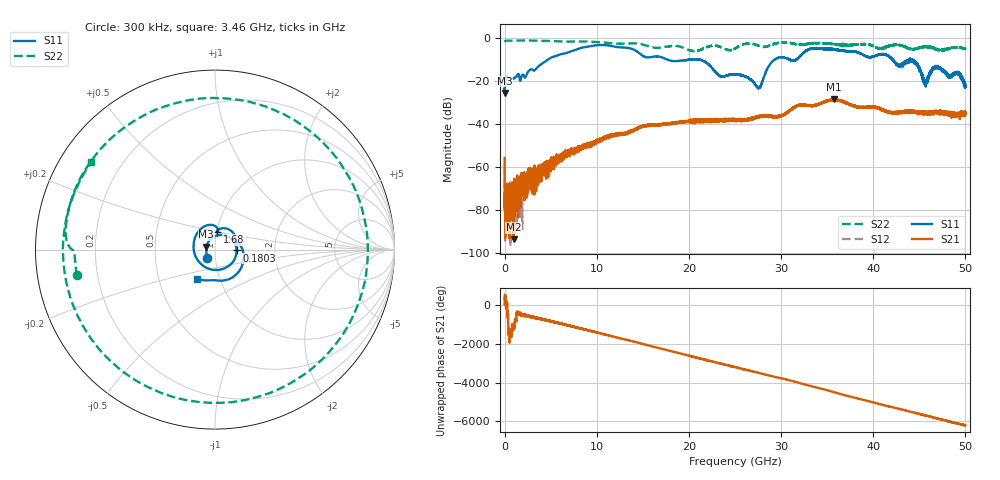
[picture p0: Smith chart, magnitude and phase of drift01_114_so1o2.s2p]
!Created with skrf (http://scikit-rf.org).
# Hz S RI R 50.0
!freq ReS11 ImS11 ReS21 ImS21 ReS12 ImS12 ReS22 ImS22
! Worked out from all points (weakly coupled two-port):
!   10001 points, 300 kHz to 50 GHz, reference 50 ohm
!   highest |S21| = -28.74 dB at 35.74 GHz (marker M1); lowest = -93.9 dB at 985.3 MHz (marker M2)
!   lowest |S11| = -25.8 dB at 5.3 MHz (marker M3), VSWR 1.11, Z = 45.3 + j1.4 ohm
!   |S11| at or under -10 dB: start of sweep to 4.767 GHz; 17.52 GHz to 29.37 GHz (11.85 GHz wide, 50.5 % of centre); 44.19 GHz to end of sweep (the widest 3 of 13)
!   |S22| runs from -6.3 to -1.4 dB; largest |S21 - S12| = 0.0047
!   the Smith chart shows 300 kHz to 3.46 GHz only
!   S11 on the Smith chart (normalised r, x): 300 kHz: 0.91, -0.08; 180.3 MHz: 1.27, -0.01; 1.68 GHz: 1.01, +0.20; 3.46 GHz: 0.78, -0.26
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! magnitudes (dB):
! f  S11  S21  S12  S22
! 300 kHz  -23.8  -56.0  -59.9  -2.1
! 5.3 MHz  -25.8  -79.0  -68.1  -2.1
! 180.3 MHz  -18.4  -81.6  -83.8  -1.4
! 985.3 MHz  -18.9  -93.9  -77.1  -1.5
! 1.68 GHz  -20.1  -72.7  -68.2  -1.4
! 3.46 GHz  -14.3  -64.9  -63.9  -1.5
! 8.335 GHz  -4.8  -51.3  -51.8  -1.8
! 16.67 GHz  -8.8  -40.6  -40.7  -4.8
! 21.22 GHz  -10.3  -38.6  -38.3  -5.7
! 23.41 GHz  -17.9  -38.6  -38.6  -4.3
! 25 GHz  -17.1  -38.2  -38.2  -5.0
! 27.59 GHz  -23.6  -36.7  -36.8  -3.8
! 29.28 GHz  -10.3  -37.0  -36.9  -2.9
! 31.47 GHz  -10.7  -32.2  -32.3  -2.9
! 33.34 GHz  -5.1  -31.6  -31.7  -2.7
! 35.74 GHz  -5.3  -28.7  -29.0  -3.0
! 41.67 GHz  -8.7  -34.7  -34.7  -4.0
! 42.74 GHz  -13.1  -34.8  -35.0  -3.3
! 44.43 GHz  -11.3  -34.4  -34.5  -5.3
! 45.63 GHz  -20.6  -35.1  -34.7  -4.4
! 46.93 GHz  -13.5  -34.4  -34.3  -5.3
! 50 GHz  -22.0  -35.3  -35.3  -5.3
